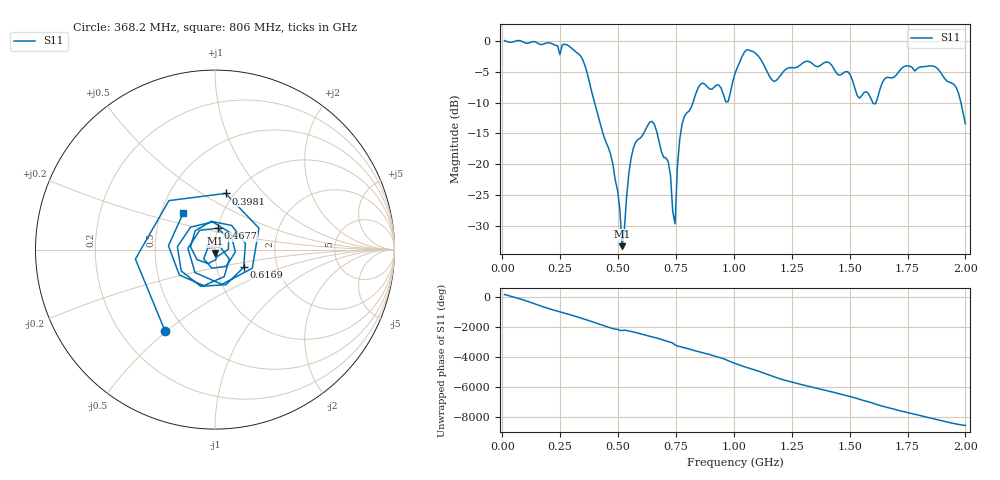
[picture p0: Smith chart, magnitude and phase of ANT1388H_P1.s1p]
!Created with skrf (http://scikit-rf.org).
# Hz S RI R 50.0
!freq ReS11 ImS11
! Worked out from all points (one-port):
!   201 points, 10 MHz to 2 GHz, reference 50 ohm
!   lowest |S11| = -33.3 dB at 517.5 MHz (marker M1), VSWR 1.04, Z = 50.1 - j2.16 ohm
!   |S11| at or under -10 dB: 398.5 MHz to 823.4 MHz (424.8 MHz wide, 69.5 % of centre); 1.6 GHz to 1.614 GHz (13.48 MHz wide, 0.839 % of centre); 1.981 GHz to end of sweep
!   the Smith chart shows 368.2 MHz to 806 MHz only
!   S11 on the Smith chart (normalised r, x): 368.2 MHz: 0.39, -0.49; 398.1 MHz: 0.91, +0.64; 467.7 MHz: 1.00, +0.24; 617 MHz: 1.35, -0.28; 806 MHz: 0.65, +0.28
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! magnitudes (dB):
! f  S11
! 10 MHz  0.1
! 258.8 MHz  -0.6
! 368.2 MHz  -5.5
! 398.1 MHz  -9.9
! 467.7 MHz  -18.4
! 507.5 MHz  -27.3
! 517.5 MHz  -33.3
! 557.2 MHz  -18.8
! 617 MHz  -14.5
! 656.8 MHz  -13.5
! 716.5 MHz  -19.6
! 746.3 MHz  -29.7
! 756.2 MHz  -20.4
! 776.1 MHz  -13.5
! 806 MHz  -11.4
! 865.7 MHz  -6.8
! 975.1 MHz  -9.9
! 1.005 GHz  -5.3
! 1.055 GHz  -1.4
! 1.174 GHz  -6.6
! 1.254 GHz  -4.3
! 1.502 GHz  -5.5
! 1.542 GHz  -9.3
! 1.612 GHz  -10.2
! 1.652 GHz  -6.1
! 1.751 GHz  -4.0
! 1.95 GHz  -7.0
! 2 GHz  -13.4
